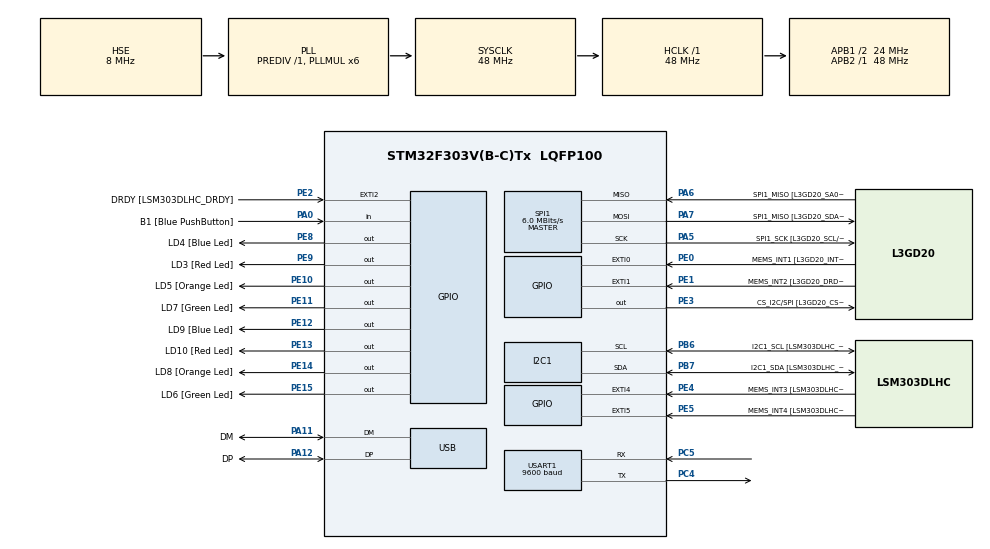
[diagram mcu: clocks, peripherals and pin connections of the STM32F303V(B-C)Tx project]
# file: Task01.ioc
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I2C1.Timing=0x2000090E
I2C1.Timing-I2C=0x2000090E
Mcu.Family=STM32F3
Mcu.Name=STM32F303V(B-C)Tx
Mcu.Package=LQFP100
NVIC.PriorityGroup=NVIC_PRIORITYGROUP_0
NVIC.USB_LP_CAN_RX0_IRQn=true\:0\:0\:false\:false\:true\:false\:true\:true
PA0.GPIO_Label=B1 [Blue PushButton]
PA0.Signal=GPIO_Input
PA11.GPIO_Label=DM
PA11.Mode=Device
PA11.Signal=USB_DM
PA12.GPIO_Label=DP
PA12.Mode=Device
PA12.Signal=USB_DP
PA13.GPIO_Label=SWDIO
PA13.Mode=Serial_Wire
PA13.Signal=SYS_JTMS-SWDIO
PA14.GPIO_Label=SWCLK
PA14.Mode=Serial_Wire
PA14.Signal=SYS_JTCK-SWCLK
PA5.GPIO_Label=SPI1_SCK [L3GD20_SCL/SPC]
PA5.Mode=Full_Duplex_Master
PA5.Signal=SPI1_SCK
PA6.GPIO_Label=SPI1_MISO [L3GD20_SA0/SDO]
PA6.Mode=Full_Duplex_Master
PA6.Signal=SPI1_MISO
PA7.GPIO_Label=SPI1_MISO [L3GD20_SDA/SDI/SDO]
PA7.Mode=Full_Duplex_Master
PA7.Signal=SPI1_MOSI
PB3.GPIO_Label=SWO
PB3.Signal=SYS_JTDO-TRACESWO
PB6.GPIO_Label=I2C1_SCL [LSM303DLHC_SCL]
PB6.GPIO_Pu=GPIO_PULLUP
PB6.Mode=I2C
PB6.Signal=I2C1_SCL
PB7.GPIO_Label=I2C1_SDA [LSM303DLHC_SDA]
PB7.GPIO_Pu=GPIO_PULLUP
PB7.Mode=I2C
PB7.Signal=I2C1_SDA
PC14-OSC32_IN.GPIO_Label=OSC32_IN
PC14-OSC32_IN.Signal=RCC_OSC32_IN
PC15-OSC32_OUT.GPIO_Label=OSC32_OUT
PC15-OSC32_OUT.Signal=RCC_OSC32_OUT
PC4.Mode=Asynchronous
PC4.Signal=USART1_TX
PC5.Mode=Asynchronous
PC5.Signal=USART1_RX
PE0.GPIO_Label=MEMS_INT1 [L3GD20_INT1]
PE0.GPIO_ModeDefaultEXTI=GPIO_MODE_EVT_RISING
PE0.Signal=GPXTI0
PE1.GPIO_Label=MEMS_INT2 [L3GD20_DRDY/INT2]
PE1.GPIO_ModeDefaultEXTI=GPIO_MODE_EVT_RISING
PE1.Signal=GPXTI1
PE10.GPIO_Label=LD5 [Orange Led]
PE10.Signal=GPIO_Output
PE11.GPIO_Label=LD7 [Green Led]
PE11.Signal=GPIO_Output
PE12.GPIO_Label=LD9 [Blue Led]
PE12.Signal=GPIO_Output
PE13.GPIO_Label=LD10 [Red Led]
PE13.Signal=GPIO_Output
PE14.GPIO_Label=LD8 [Orange Led]
PE14.Signal=GPIO_Output
PE15.GPIO_Label=LD6 [Green Led]
PE15.Signal=GPIO_Output
PE2.GPIO_Label=DRDY [LSM303DLHC_DRDY]
PE2.GPIO_ModeDefaultEXTI=GPIO_MODE_EVT_RISING
PE2.Signal=GPXTI2
PE3.GPIO_Label=CS_I2C/SPI [L3GD20_CS_I2C/SPI]
PE3.Signal=GPIO_Output
PE4.GPIO_Label=MEMS_INT3 [LSM303DLHC_INT1]
PE4.GPIO_ModeDefaultEXTI=GPIO_MODE_EVT_RISING
PE4.Signal=GPXTI4
PE5.GPIO_Label=MEMS_INT4 [LSM303DLHC_INT2]
PE5.GPIO_ModeDefaultEXTI=GPIO_MODE_EVT_RISING
PE5.Signal=GPXTI5
PE8.GPIO_Label=LD4 [Blue Led]
PE8.Signal=GPIO_Output
PE9.GPIO_Label=LD3 [Red Led]
PE9.Signal=GPIO_Output
PF0-OSC_IN.GPIO_Label=OSC_IN
PF0-OSC_IN.Mode=HSE-External-Clock-Source
PF0-OSC_IN.Signal=RCC_OSC_IN
PF1-OSC_OUT.GPIO_Label=OSC_OUT
PF1-OSC_OUT.Signal=RCC_OSC_OUT
ProjectManager.HeapSize=0x200
ProjectManager.StackSize=0x400
ProjectManager.TargetToolchain=CMake
RCC.AHBFreq_Value=48000000
RCC.APB1CLKDivider=RCC_HCLK_DIV2
RCC.APB1Freq_Value=24000000
RCC.APB1TimFreq_Value=48000000
RCC.APB2Freq_Value=48000000
RCC.APB2TimFreq_Value=48000000
RCC.CortexFreq_Value=48000000
RCC.HCLKFreq_Value=48000000
RCC.HSE_VALUE=8000000
RCC.HSI_VALUE=8000000
RCC.LSE_VALUE=32768
RCC.PLLMUL=RCC_PLL_MUL6
RCC.SYSCLKFreq_VALUE=48000000
RCC.SYSCLKSourceVirtual=RCC_SYSCLKSOURCE_PLLCLK
RCC.USBFreq_Value=48000000
SPI1.BaudRatePrescaler=SPI_BAUDRATEPRESCALER_8
SPI1.CalculateBaudRate=6.0 MBits/s
SPI1.DataSize=SPI_DATASIZE_8BIT
SPI1.Direction=SPI_DIRECTION_2LINES
SPI1.Mode=SPI_MODE_MASTER
SPI1.NSSPMode=SPI_NSS_PULSE_DISABLE
SPI1.VirtualType=VM_MASTER
USART1.BaudRate=9600
USART1.VirtualMode-Asynchronous=VM_ASYNC
USB_DEVICE.CLASS_NAME_FS=CDC
USB_DEVICE.VirtualMode=Cdc
USB_DEVICE.VirtualModeFS=Cdc_FS
VP_USB_DEVICE_VS_USB_DEVICE_CDC_FS.Mode=CDC_FS
board=STM32F3DISCOVERY

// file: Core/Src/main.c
/* USER CODE BEGIN Header */
/**
  ******************************************************************************
  * @file           : main.c
  * @brief          : Main program body
  ******************************************************************************
  * @attention
  *
  * Copyright (c) 2025 STMicroelectronics.
  * All rights reserved.
  *
  * This software is licensed under terms that can be found in the LICENSE file
  * in the root directory of this software component.
  * If no LICENSE file comes with this software, it is provided AS-IS.
  *
  ******************************************************************************
  */
/* USER CODE END Header */
#include "main.h"
#include "usb_device.h"

/* USER CODE BEGIN Includes */

#include <stdio.h>   // for sprintf
#include <string.h>  // for strlen

/* USER CODE END Includes */

I2C_HandleTypeDef hi2c1;

SPI_HandleTypeDef hspi1;

UART_HandleTypeDef huart1;

void SystemClock_Config(void);
static void MX_GPIO_Init(void);
static void MX_I2C1_Init(void);
static void MX_SPI1_Init(void);
static void MX_USART1_UART_Init(void);

/* USER CODE BEGIN 0 */

// Function to read a register from the gyroscope via SPI
uint8_t gyro_read_register(uint8_t reg)
{
    uint8_t tx = 0x80 | reg; // Set MSB (bit 7) to 1 to indicate a READ operation in SPI protocol
    uint8_t rx = 0;          // Variable to store received data

    // Pull CS (Chip Select) line LOW to begin SPI communication with the gyroscope
    HAL_GPIO_WritePin(GPIOE, GPIO_PIN_3, GPIO_PIN_RESET);

    // Transmit the register address with the read bit set
    HAL_SPI_Transmit(&hspi1, &tx, 1, HAL_MAX_DELAY);

    // Receive 1 byte of data from the gyroscope
    HAL_SPI_Receive(&hspi1, &rx, 1, HAL_MAX_DELAY);

    // Pull CS line HIGH to end communication
    HAL_GPIO_WritePin(GPIOE, GPIO_PIN_3, GPIO_PIN_SET);

    return rx; // Return the value read from the register
}

/* USER CODE END 0 */

int main(void)
{

  /* MCU Configuration--------------------------------------------------------*/

  /* Reset of all peripherals, Initializes the Flash interface and the Systick. */
  HAL_Init();

  /* Configure the system clock */
  SystemClock_Config();

  /* Initialize all configured peripherals */
  MX_GPIO_Init();
  MX_I2C1_Init();
  MX_SPI1_Init();
  MX_USART1_UART_Init();
  MX_USB_DEVICE_Init();

  /* USER CODE BEGIN 2 */

  // Read the value from the gyroscope's WHO_AM_I register (commonly at address 0x0F)
  uint8_t rx = gyro_read_register(0x0F);

  // Create a character buffer to store the converted string version of the register value
  char buffer[10];  // Enough to store a 3-digit decimal value plus newline and null terminator (e.g., "255\r\n\0")

  // Convert the received 8-bit value to a string in decimal format
  sprintf(buffer, "%u", rx);  // e.g., if rx = 212, buffer = "212"

  // Optionally append carriage return and newline for terminal formatting (makes output easier to read)
  strcat(buffer, "\r\n");  // Now buffer = "212\r\n"

  // Transmit the resulting string over UART to a PC or serial terminal
  HAL_UART_Transmit(&huart1, (uint8_t *)buffer, strlen(buffer), HAL_MAX_DELAY);

  /* USER CODE END 2 */

  /* Infinite loop */
  while (1)
  {

  }
}

void SystemClock_Config(void)
{
  RCC_OscInitTypeDef RCC_OscInitStruct = {0};
  RCC_ClkInitTypeDef RCC_ClkInitStruct = {0};
  RCC_PeriphCLKInitTypeDef PeriphClkInit = {0};

  /** Initializes the RCC Oscillators according to the specified parameters
  * in the RCC_OscInitTypeDef structure.
  */
  RCC_OscInitStruct.OscillatorType = RCC_OSCILLATORTYPE_HSI|RCC_OSCILLATORTYPE_HSE;
  RCC_OscInitStruct.HSEState = RCC_HSE_BYPASS;
  RCC_OscInitStruct.HSEPredivValue = RCC_HSE_PREDIV_DIV1;
  RCC_OscInitStruct.HSIState = RCC_HSI_ON;
  RCC_OscInitStruct.HSICalibrationValue = RCC_HSICALIBRATION_DEFAULT;
  RCC_OscInitStruct.PLL.PLLState = RCC_PLL_ON;
  RCC_OscInitStruct.PLL.PLLSource = RCC_PLLSOURCE_HSE;
  RCC_OscInitStruct.PLL.PLLMUL = RCC_PLL_MUL6;
  if (HAL_RCC_OscConfig(&RCC_OscInitStruct) != HAL_OK)
  {
    Error_Handler();
  }

  /** Initializes the CPU, AHB and APB buses clocks
  */
  RCC_ClkInitStruct.ClockType = RCC_CLOCKTYPE_HCLK|RCC_CLOCKTYPE_SYSCLK
                              |RCC_CLOCKTYPE_PCLK1|RCC_CLOCKTYPE_PCLK2;
  RCC_ClkInitStruct.SYSCLKSource = RCC_SYSCLKSOURCE_PLLCLK;
  RCC_ClkInitStruct.AHBCLKDivider = RCC_SYSCLK_DIV1;
  RCC_ClkInitStruct.APB1CLKDivider = RCC_HCLK_DIV2;
  RCC_ClkInitStruct.APB2CLKDivider = RCC_HCLK_DIV1;

  if (HAL_RCC_ClockConfig(&RCC_ClkInitStruct, FLASH_LATENCY_1) != HAL_OK)
  {
    Error_Handler();
  }
  PeriphClkInit.PeriphClockSelection = RCC_PERIPHCLK_USB|RCC_PERIPHCLK_USART1
                              |RCC_PERIPHCLK_I2C1;
  PeriphClkInit.Usart1ClockSelection = RCC_USART1CLKSOURCE_PCLK2;
  PeriphClkInit.I2c1ClockSelection = RCC_I2C1CLKSOURCE_HSI;
  PeriphClkInit.USBClockSelection = RCC_USBCLKSOURCE_PLL;
  if (HAL_RCCEx_PeriphCLKConfig(&PeriphClkInit) != HAL_OK)
  {
    Error_Handler();
  }
}

static void MX_I2C1_Init(void)
{

  hi2c1.Instance = I2C1;
  hi2c1.Init.Timing = 0x2000090E;
  hi2c1.Init.OwnAddress1 = 0;
  hi2c1.Init.AddressingMode = I2C_ADDRESSINGMODE_7BIT;
  hi2c1.Init.DualAddressMode = I2C_DUALADDRESS_DISABLE;
  hi2c1.Init.OwnAddress2 = 0;
  hi2c1.Init.OwnAddress2Masks = I2C_OA2_NOMASK;
  hi2c1.Init.GeneralCallMode = I2C_GENERALCALL_DISABLE;
  hi2c1.Init.NoStretchMode = I2C_NOSTRETCH_DISABLE;
  if (HAL_I2C_Init(&hi2c1) != HAL_OK)
  {
    Error_Handler();
  }

  /** Configure Analogue filter
  */
  if (HAL_I2CEx_ConfigAnalogFilter(&hi2c1, I2C_ANALOGFILTER_ENABLE) != HAL_OK)
  {
    Error_Handler();
  }

  /** Configure Digital filter
  */
  if (HAL_I2CEx_ConfigDigitalFilter(&hi2c1, 0) != HAL_OK)
  {
    Error_Handler();
  }

}

static void MX_SPI1_Init(void)
{

  /* SPI1 parameter configuration*/
  hspi1.Instance = SPI1;
  hspi1.Init.Mode = SPI_MODE_MASTER;
  hspi1.Init.Direction = SPI_DIRECTION_2LINES;
  hspi1.Init.DataSize = SPI_DATASIZE_8BIT;
  hspi1.Init.CLKPolarity = SPI_POLARITY_LOW;
  hspi1.Init.CLKPhase = SPI_PHASE_1EDGE;
  hspi1.Init.NSS = SPI_NSS_SOFT;
  hspi1.Init.BaudRatePrescaler = SPI_BAUDRATEPRESCALER_8;
  hspi1.Init.FirstBit = SPI_FIRSTBIT_MSB;
  hspi1.Init.TIMode = SPI_TIMODE_DISABLE;
  hspi1.Init.CRCCalculation = SPI_CRCCALCULATION_DISABLE;
  hspi1.Init.CRCPolynomial = 7;
  hspi1.Init.CRCLength = SPI_CRC_LENGTH_DATASIZE;
  hspi1.Init.NSSPMode = SPI_NSS_PULSE_DISABLE;
  if (HAL_SPI_Init(&hspi1) != HAL_OK)
  {
    Error_Handler();
  }

}

static void MX_USART1_UART_Init(void)
{

  huart1.Instance = USART1;
  huart1.Init.BaudRate = 9600;
  huart1.Init.WordLength = UART_WORDLENGTH_8B;
  huart1.Init.StopBits = UART_STOPBITS_1;
  huart1.Init.Parity = UART_PARITY_NONE;
  huart1.Init.Mode = UART_MODE_TX_RX;
  huart1.Init.HwFlowCtl = UART_HWCONTROL_NONE;
  huart1.Init.OverSampling = UART_OVERSAMPLING_16;
  huart1.Init.OneBitSampling = UART_ONE_BIT_SAMPLE_DISABLE;
  huart1.AdvancedInit.AdvFeatureInit = UART_ADVFEATURE_NO_INIT;
  if (HAL_UART_Init(&huart1) != HAL_OK)
  {
    Error_Handler();
  }

}

static void MX_GPIO_Init(void)
{
  GPIO_InitTypeDef GPIO_InitStruct = {0};

  /* GPIO Ports Clock Enable */
  __HAL_RCC_GPIOE_CLK_ENABLE();
  __HAL_RCC_GPIOC_CLK_ENABLE();
  __HAL_RCC_GPIOF_CLK_ENABLE();
  __HAL_RCC_GPIOA_CLK_ENABLE();
  __HAL_RCC_GPIOB_CLK_ENABLE();

  /*Configure GPIO pin Output Level */
  HAL_GPIO_WritePin(GPIOE, CS_I2C_SPI_Pin|LD4_Pin|LD3_Pin|LD5_Pin
                          |LD7_Pin|LD9_Pin|LD10_Pin|LD8_Pin
                          |LD6_Pin, GPIO_PIN_RESET);

  /*Configure GPIO pins : DRDY_Pin MEMS_INT3_Pin MEMS_INT4_Pin MEMS_INT1_Pin
                           MEMS_INT2_Pin */
  GPIO_InitStruct.Pin = DRDY_Pin|MEMS_INT3_Pin|MEMS_INT4_Pin|MEMS_INT1_Pin
                          |MEMS_INT2_Pin;
  GPIO_InitStruct.Mode = GPIO_MODE_EVT_RISING;
  GPIO_InitStruct.Pull = GPIO_NOPULL;
  HAL_GPIO_Init(GPIOE, &GPIO_InitStruct);

  /*Configure GPIO pins : CS_I2C_SPI_Pin LD4_Pin LD3_Pin LD5_Pin
                           LD7_Pin LD9_Pin LD10_Pin LD8_Pin
                           LD6_Pin */
  GPIO_InitStruct.Pin = CS_I2C_SPI_Pin|LD4_Pin|LD3_Pin|LD5_Pin
                          |LD7_Pin|LD9_Pin|LD10_Pin|LD8_Pin
                          |LD6_Pin;
  GPIO_InitStruct.Mode = GPIO_MODE_OUTPUT_PP;
  GPIO_InitStruct.Pull = GPIO_NOPULL;
  GPIO_InitStruct.Speed = GPIO_SPEED_FREQ_LOW;
  HAL_GPIO_Init(GPIOE, &GPIO_InitStruct);

  /*Configure GPIO pin : B1_Pin */
  GPIO_InitStruct.Pin = B1_Pin;
  GPIO_InitStruct.Mode = GPIO_MODE_INPUT;
  GPIO_InitStruct.Pull = GPIO_NOPULL;
  HAL_GPIO_Init(B1_GPIO_Port, &GPIO_InitStruct);

}

void Error_Handler(void)
{
  __disable_irq();
  while (1)
  {
  }
}
